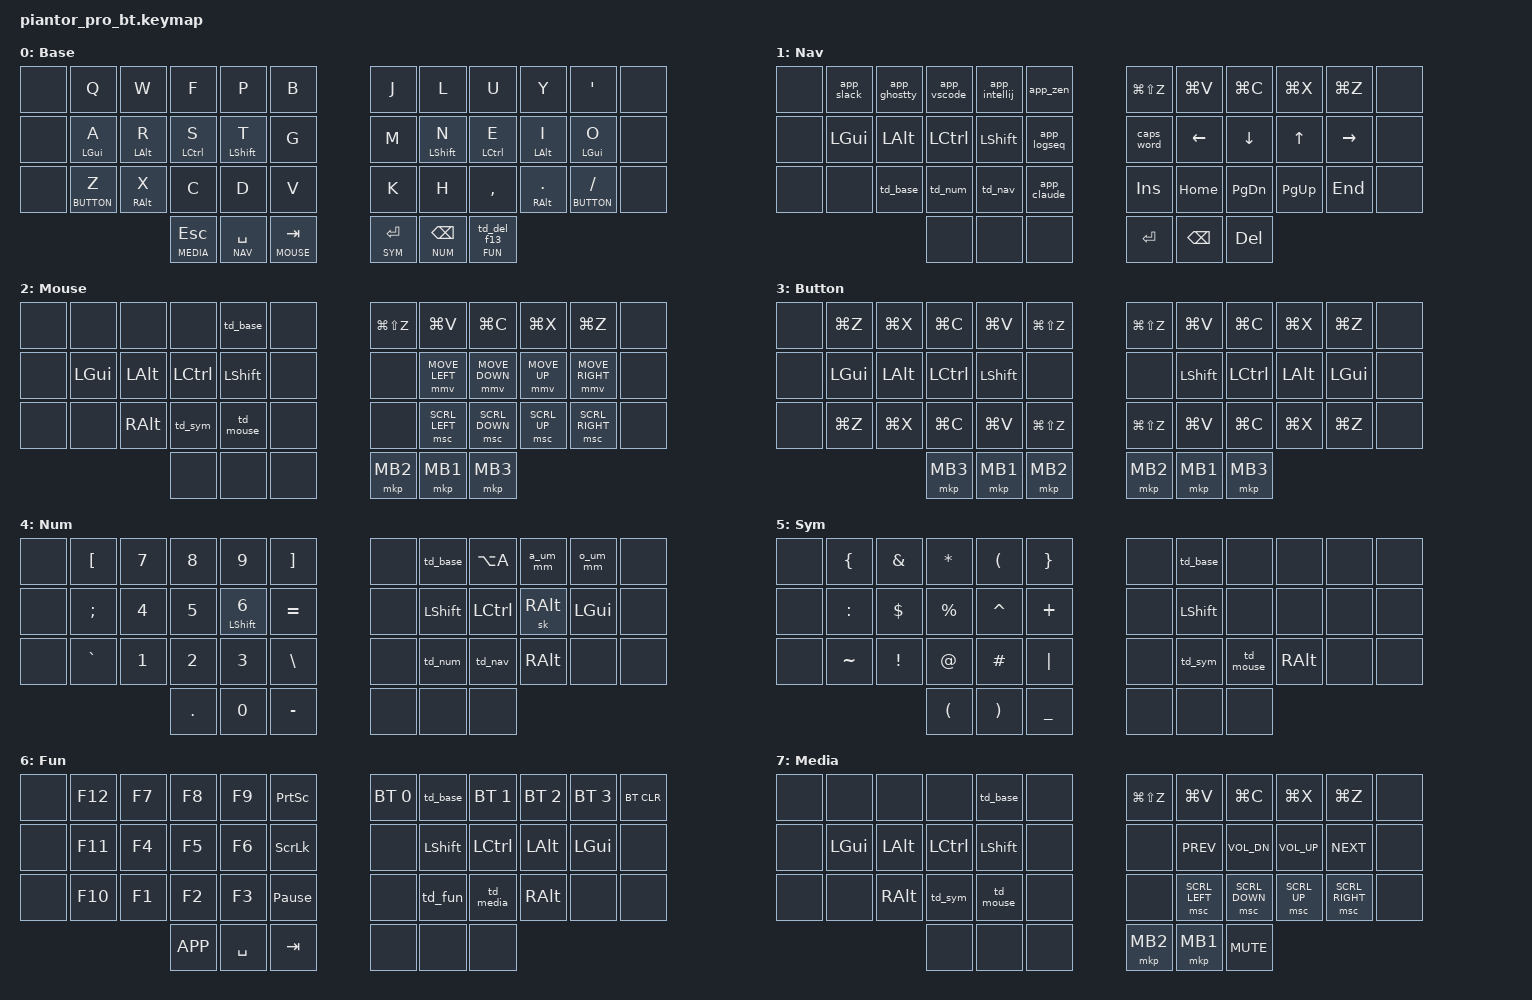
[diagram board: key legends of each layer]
/*
 * Piantor Pro BT - port of the Kyria "mharlin" QMK keymap (Colemak-DH, home row mods).
 * 42-key layout: three 6-column rows + 3 thumbs per side. Outer columns are unused (&none).
 */

#include <behaviors.dtsi>
#include <dt-bindings/zmk/keys.h>
#include <dt-bindings/zmk/bt.h>
#include <dt-bindings/zmk/pointing.h>

#define BASE   0
#define NAV    1
#define MOUSE  2
#define BUTTON 3
#define NUM    4
#define SYM    5
#define FUN    6
#define MEDIA  7

// Key positions (6-column layout)
#define KEYS_L   0 1 2 3 4 5 12 13 14 15 16 17 24 25 26 27 28 29
#define KEYS_R   6 7 8 9 10 11 18 19 20 21 22 23 30 31 32 33 34 35
#define THUMBS_L 36 37 38
#define THUMBS_R 39 40 41

#define SC_REDO  &kp LG(LS(Z))
#define SC_PASTE &kp LG(V)
#define SC_COPY  &kp LG(C)
#define SC_CUT   &kp LG(X)
#define SC_UNDO  &kp LG(Z)

/ {
    chosen {
        zmk,physical-layout = &default_layout;
    };

    behaviors {
        // Home row mods: left hand holds trigger on right-hand keys and thumbs, and vice versa
        hml: home_row_mod_left {
            compatible = "zmk,behavior-hold-tap";
            #binding-cells = <2>;
            flavor = "balanced";
            tapping-term-ms = <200>;
            quick-tap-ms = <175>;
            require-prior-idle-ms = <150>;
            bindings = <&kp>, <&kp>;
            hold-trigger-key-positions = <KEYS_R THUMBS_L THUMBS_R>;
            hold-trigger-on-release;
        };

        hmr: home_row_mod_right {
            compatible = "zmk,behavior-hold-tap";
            #binding-cells = <2>;
            flavor = "balanced";
            tapping-term-ms = <200>;
            quick-tap-ms = <175>;
            require-prior-idle-ms = <150>;
            bindings = <&kp>, <&kp>;
            hold-trigger-key-positions = <KEYS_L THUMBS_L THUMBS_R>;
            hold-trigger-on-release;
        };

        // Double-tap a layer key to lock into that layer (single tap does nothing)
        td_base: td_base_switch {
            compatible = "zmk,behavior-tap-dance";
            #binding-cells = <0>;
            tapping-term-ms = <200>;
            bindings = <&none>, <&to BASE>;
        };
        td_num: td_num_switch {
            compatible = "zmk,behavior-tap-dance";
            #binding-cells = <0>;
            tapping-term-ms = <200>;
            bindings = <&none>, <&to NUM>;
        };
        td_nav: td_nav_switch {
            compatible = "zmk,behavior-tap-dance";
            #binding-cells = <0>;
            tapping-term-ms = <200>;
            bindings = <&none>, <&to NAV>;
        };
        td_sym: td_sym_switch {
            compatible = "zmk,behavior-tap-dance";
            #binding-cells = <0>;
            tapping-term-ms = <200>;
            bindings = <&none>, <&to SYM>;
        };
        td_mouse: td_mouse_switch {
            compatible = "zmk,behavior-tap-dance";
            #binding-cells = <0>;
            tapping-term-ms = <200>;
            bindings = <&none>, <&to MOUSE>;
        };
        td_fun: td_fun_switch {
            compatible = "zmk,behavior-tap-dance";
            #binding-cells = <0>;
            tapping-term-ms = <200>;
            bindings = <&none>, <&to FUN>;
        };
        td_media: td_media_switch {
            compatible = "zmk,behavior-tap-dance";
            #binding-cells = <0>;
            tapping-term-ms = <200>;
            bindings = <&none>, <&to MEDIA>;
        };

        // Del/Fn: tap = Del, double-tap = F13 (Karabiner maps F13 -> Fn), hold = Fun layer
        td_del_f13: td_del_f13 {
            compatible = "zmk,behavior-tap-dance";
            #binding-cells = <0>;
            tapping-term-ms = <200>;
            bindings = <&kp DEL>, <&kp F13>;
        };
        del_fn: del_fn {
            compatible = "zmk,behavior-hold-tap";
            #binding-cells = <2>;
            flavor = "tap-preferred";
            tapping-term-ms = <200>;
            quick-tap-ms = <200>;
            bindings = <&mo>, <&td_del_f13>;
        };

        // Swedish letters via macOS Option+U dead key. Shifted variants release shift for the
        // dead key, then type the capital letter, then restore shift.
        a_um_mm: a_umlaut_morph {
            compatible = "zmk,behavior-mod-morph";
            #binding-cells = <0>;
            bindings = <&a_um>, <&a_um_cap>;
            mods = <(MOD_LSFT|MOD_RSFT)>;
            keep-mods = <(MOD_LSFT|MOD_RSFT)>;
        };
        o_um_mm: o_umlaut_morph {
            compatible = "zmk,behavior-mod-morph";
            #binding-cells = <0>;
            bindings = <&o_um>, <&o_um_cap>;
            mods = <(MOD_LSFT|MOD_RSFT)>;
            keep-mods = <(MOD_LSFT|MOD_RSFT)>;
        };
    };

    macros {
        a_um: a_um {
            compatible = "zmk,behavior-macro";
            #binding-cells = <0>;
            bindings = <&macro_tap &kp LA(U) &kp A>;
        };
        a_um_cap: a_um_cap {
            compatible = "zmk,behavior-macro";
            #binding-cells = <0>;
            bindings = <&macro_release &kp LSHFT &kp RSHFT>,
                       <&macro_tap &kp LA(U)>,
                       <&macro_tap &kp LS(A)>,
                       <&macro_press &kp LSHFT>;
        };
        o_um: o_um {
            compatible = "zmk,behavior-macro";
            #binding-cells = <0>;
            bindings = <&macro_tap &kp LA(U) &kp O>;
        };
        o_um_cap: o_um_cap {
            compatible = "zmk,behavior-macro";
            #binding-cells = <0>;
            bindings = <&macro_release &kp LSHFT &kp RSHFT>,
                       <&macro_tap &kp LA(U)>,
                       <&macro_tap &kp LS(O)>,
                       <&macro_press &kp LSHFT>;
        };

        // App launchers: Cmd+Space (Spotlight/Raycast), wait, type name, Enter
        app_vscode: app_vscode {
            compatible = "zmk,behavior-macro";
            #binding-cells = <0>;
            bindings = <&macro_tap &kp LG(SPACE)>, <&macro_wait_time 200>,
                       <&macro_tap &kp V &kp S &kp C &kp RET>;
        };
        app_intellij: app_intellij {
            compatible = "zmk,behavior-macro";
            #binding-cells = <0>;
            bindings = <&macro_tap &kp LG(SPACE)>, <&macro_wait_time 200>,
                       <&macro_tap &kp I &kp N &kp T &kp E &kp L &kp L &kp I &kp J &kp RET>;
        };
        app_zen: app_zen {
            compatible = "zmk,behavior-macro";
            #binding-cells = <0>;
            bindings = <&macro_tap &kp LG(SPACE)>, <&macro_wait_time 200>,
                       <&macro_tap &kp Z &kp E &kp N &kp RET>;
        };
        app_ghostty: app_ghostty {
            compatible = "zmk,behavior-macro";
            #binding-cells = <0>;
            bindings = <&macro_tap &kp LG(SPACE)>, <&macro_wait_time 200>,
                       <&macro_tap &kp G &kp H &kp O &kp S &kp T &kp T &kp Y &kp RET>;
        };
        app_slack: app_slack {
            compatible = "zmk,behavior-macro";
            #binding-cells = <0>;
            bindings = <&macro_tap &kp LG(SPACE)>, <&macro_wait_time 200>,
                       <&macro_tap &kp S &kp L &kp A &kp C &kp K &kp RET>;
        };
        app_logseq: app_logseq {
            compatible = "zmk,behavior-macro";
            #binding-cells = <0>;
            bindings = <&macro_tap &kp LG(SPACE)>, <&macro_wait_time 200>,
                       <&macro_tap &kp L &kp O &kp G &kp S &kp E &kp Q &kp RET>;
        };
        app_claude: app_claude {
            compatible = "zmk,behavior-macro";
            #binding-cells = <0>;
            bindings = <&macro_tap &kp LG(SPACE)>, <&macro_wait_time 200>,
                       <&macro_tap &kp C &kp L &kp A &kp U &kp D &kp E &kp RET>;
        };
    };

    keymap {
        compatible = "zmk,keymap";

        base_layer {
            display-name = "Base";
            bindings = <
&none  &kp Q           &kp W           &kp F           &kp P           &kp B       &kp J  &kp L           &kp U           &kp Y           &kp SQT          &none
&none  &hml LGUI A     &hml LALT R     &hml LCTRL S    &hml LSHFT T    &kp G       &kp M  &hmr LSHFT N    &hmr LCTRL E    &hmr LALT I     &hmr LGUI O      &none
&none  &lt BUTTON Z    &hml RALT X     &kp C           &kp D           &kp V       &kp K  &kp H           &kp COMMA       &hmr RALT DOT   &lt BUTTON FSLH  &none
                                       &lt MEDIA ESC   &lt NAV SPACE   &lt MOUSE TAB   &lt SYM RET   &lt NUM BSPC   &del_fn FUN 0
            >;
        };

        nav_layer {
            display-name = "Nav";
            bindings = <
&none  &app_slack  &app_ghostty  &app_vscode  &app_intellij  &app_zen        SC_REDO      SC_PASTE     SC_COPY      SC_CUT       SC_UNDO      &none
&none  &kp LGUI    &kp LALT      &kp LCTRL    &kp LSHFT      &app_logseq     &caps_word &kp LEFT &kp DOWN  &kp UP    &kp RIGHT &none
&none  &none       &td_base      &td_num      &td_nav        &app_claude     &kp INS   &kp HOME  &kp PG_DN &kp PG_UP &kp END   &none
                                 &none        &none          &none           &kp RET   &kp BSPC  &kp DEL
            >;
        };

        mouse_layer {
            display-name = "Mouse";
            bindings = <
&none  &none     &none      &none      &td_base   &none     SC_REDO     SC_PASTE            SC_COPY             SC_CUT              SC_UNDO             &none
&none  &kp LGUI  &kp LALT   &kp LCTRL  &kp LSHFT  &none     &none    &mmv MOVE_LEFT   &mmv MOVE_DOWN   &mmv MOVE_UP     &mmv MOVE_RIGHT  &none
&none  &none     &kp RALT   &td_sym    &td_mouse  &none     &none    &msc SCRL_LEFT   &msc SCRL_DOWN   &msc SCRL_UP     &msc SCRL_RIGHT  &none
                            &none      &none      &none     &mkp MB2 &mkp MB1         &mkp MB3
            >;
        };

        button_layer {
            display-name = "Button";
            bindings = <
&none  SC_UNDO      SC_CUT        SC_COPY       SC_PASTE      SC_REDO      SC_REDO     SC_PASTE     SC_COPY      SC_CUT       SC_UNDO      &none
&none  &kp LGUI  &kp LALT   &kp LCTRL  &kp LSHFT  &none     &none    &kp LSHFT &kp LCTRL &kp LALT  &kp LGUI  &none
&none  SC_UNDO      SC_CUT        SC_COPY       SC_PASTE      SC_REDO      SC_REDO     SC_PASTE     SC_COPY      SC_CUT       SC_UNDO      &none
                            &mkp MB3   &mkp MB1   &mkp MB2  &mkp MB2 &mkp MB1  &mkp MB3
            >;
        };

        num_layer {
            display-name = "Num";
            bindings = <
&none  &kp LBKT  &kp N7      &kp N8      &kp N9            &kp RBKT   &none  &td_base  &kp LA(A)  &a_um_mm  &o_um_mm   &none
&none  &kp SEMI  &kp N4      &kp N5      &hml LSHFT N6     &kp EQUAL  &none  &kp LSHFT &kp LCTRL  &sk RALT  &kp LGUI   &none
&none  &kp GRAVE &kp N1      &kp N2      &kp N3            &kp BSLH   &none  &td_num   &td_nav    &kp RALT  &none      &none
                             &kp DOT     &kp N0            &kp MINUS  &none  &none     &none
            >;
        };

        sym_layer {
            display-name = "Sym";
            bindings = <
&none  &kp LBRC   &kp AMPS   &kp STAR   &kp LPAR   &kp RBRC    &none  &td_base  &none    &none     &none  &none
&none  &kp COLON  &kp DLLR   &kp PRCNT  &kp CARET  &kp PLUS    &none  &kp LSHFT &none    &none     &none  &none
&none  &kp TILDE  &kp EXCL   &kp AT     &kp HASH   &kp PIPE    &none  &td_sym   &td_mouse &kp RALT  &none  &none
                             &kp LPAR   &kp RPAR   &kp UNDER   &none  &none     &none
            >;
        };

        fun_layer {
            display-name = "Fun";
            bindings = <
&none  &kp F12  &kp F7  &kp F8  &kp F9  &kp PSCRN       &bt BT_SEL 0  &td_base   &bt BT_SEL 1  &bt BT_SEL 2  &bt BT_SEL 3  &bt BT_CLR
&none  &kp F11  &kp F4  &kp F5  &kp F6  &kp SLCK        &none         &kp LSHFT  &kp LCTRL     &kp LALT      &kp LGUI      &none
&none  &kp F10  &kp F1  &kp F2  &kp F3  &kp PAUSE_BREAK &none         &td_fun    &td_media     &kp RALT      &none         &none
                                &kp K_APP  &kp SPACE  &kp TAB  &none  &none  &none
            >;
        };

        media_layer {
            display-name = "Media";
            bindings = <
&none  &none     &none      &none      &td_base   &none     SC_REDO     SC_PASTE            SC_COPY             SC_CUT              SC_UNDO             &none
&none  &kp LGUI  &kp LALT   &kp LCTRL  &kp LSHFT  &none     &none    &kp C_PREV       &kp C_VOL_DN     &kp C_VOL_UP     &kp C_NEXT       &none
&none  &none     &kp RALT   &td_sym    &td_mouse  &none     &none    &msc SCRL_LEFT   &msc SCRL_DOWN   &msc SCRL_UP     &msc SCRL_RIGHT  &none
                            &none      &none      &none     &mkp MB2 &mkp MB1         &kp C_MUTE
            >;
        };
    };
};
